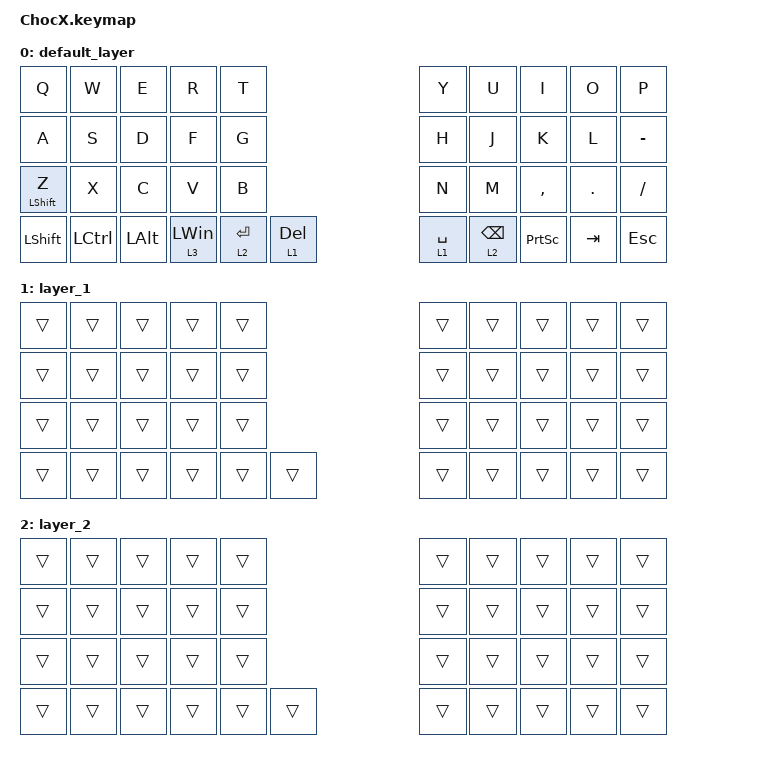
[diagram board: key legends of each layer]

// This file was generated from a template. Edit it to match your keyboard.
// See https://zmk.dev/docs/development/hardware-integration/new-shield for more instructions.

#include <behaviors.dtsi>
#include <dt-bindings/zmk/keys.h>
#include <dt-bindings/zmk/bt.h>

/ {
    combos { compatible = "zmk,combos"; };

    keymap {
        compatible = "zmk,keymap";

        default_layer {
            // -----------------------------------------------------------------------------------------
            // |  Q  |  W  |  E  |  R  |  T  |                |  Y  |  U   |  I  |  O  |  P  |
            // |  A  |  S  |  D  |  F  |  G  |                |  H  |  J   |  K  |  L  |  -  |
            // |  Z  |  X  |  C  |  V  |  B  |                |  N  |  M   |  ,  |  .  |  /  |
            // | SHFT| CTRL| ALT | LNG | DEL | ENT |          | SPC | BSPC | WIN | TAB | ESC |

            bindings = <
&kp Q             &kp W      &kp E         &kp R           &kp T                       &kp Y        &kp U       &kp I      &kp O       &kp P
&kp A             &kp S      &kp D         &kp F           &kp G                       &kp H        &kp J       &kp K      &kp L       &kp MINUS
&mt LEFT_SHIFT Z  &kp X      &kp C         &kp V           &kp B                       &kp N        &kp M       &kp COMMA  &kp PERIOD  &kp SLASH
&kp LEFT_SHIFT    &kp LCTRL  &kp LEFT_ALT  &lt 3 LEFT_WIN  &lt 2 ENTER  &lt 1 DEL      &lt 1 SPACE  &lt 2 BSPC  &kp PSCRN  &kp TAB     &kp ESC
            >;
        };

        layer_1 {
            // -----------------------------------------------------------------------------------------
            // |  F1  |  F3  |  F4  |  F5  |  F6  |                 |  F2  |  F7  |  F8  |  F9  |  F10  | 
            // |      |PG_LFT|  UP  |PG_RGT| PG_UP|                 | COPY | BTN1 | BTN3 | BTN2 |  F11  |
            // |      | LEFT | DOWN | RGHT | PG_DN|                 | PSTE | BTN4 | BTN5 |      |  F12  |
            // |      |      |      |      |      |      |          |      |      |      |      |       |

            bindings = <
&trans  &trans  &trans  &trans  &trans              &trans  &trans  &trans  &trans  &trans
&trans  &trans  &trans  &trans  &trans              &trans  &trans  &trans  &trans  &trans
&trans  &trans  &trans  &trans  &trans              &trans  &trans  &trans  &trans  &trans
&trans  &trans  &trans  &trans  &trans  &trans      &trans  &trans  &trans  &trans  &trans
            >;
        };

        layer_2 {
            // -----------------------------------------------------------------------------------------
            // | TAB |  7  |  8  |  9  |  =  |               |  (  |  )  |  &  |  ^  |  \  |
            // |  *  |  4  |  5  |  6  |  +  |               |  [  |  _  |  @  |  :  |  ;  |
            // |  /  |  1  |  2  |  3  |  -  |               |  ]  |  !  |  ?  |  `  |  "  |
            // | ESC |  0  |  .  | BS  |     |    |          |  _  |  +  |  {  |  }  |     |

            bindings = <
&trans  &trans  &trans  &trans  &trans              &trans  &trans  &trans  &trans  &trans
&trans  &trans  &trans  &trans  &trans              &trans  &trans  &trans  &trans  &trans
&trans  &trans  &trans  &trans  &trans              &trans  &trans  &trans  &trans  &trans
&trans  &trans  &trans  &trans  &trans  &trans      &trans  &trans  &trans  &trans  &trans
            >;
        };
    };
};
